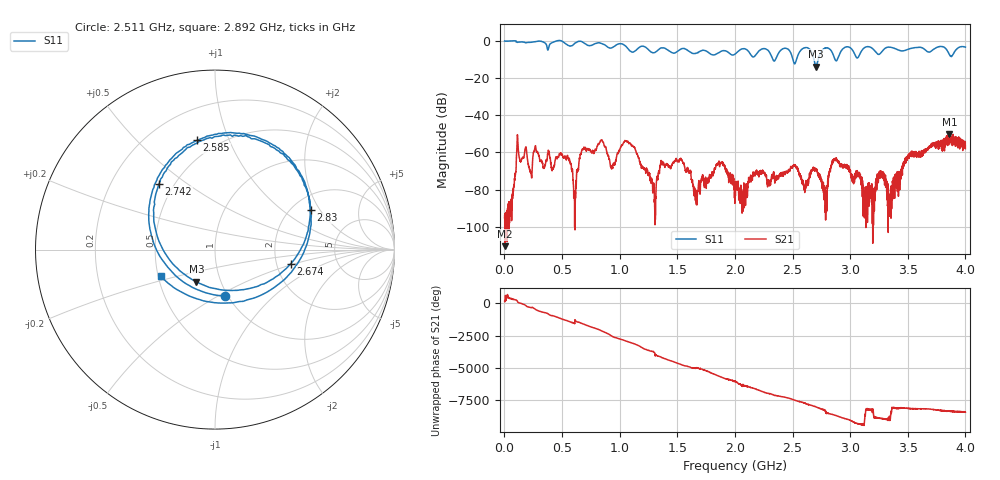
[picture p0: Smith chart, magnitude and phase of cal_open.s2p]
!Created with skrf (http://scikit-rf.org).
# GHz S RI R 50.0
!freq ReS11 ImS11 ReS21 ImS21 ReS12 ImS12 ReS22 ImS22
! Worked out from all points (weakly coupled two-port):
!   4000 points, 1 MHz to 4 GHz, reference 50 ohm
!   highest |S21| = -50.23 dB at 3.862 GHz (marker M1); lowest = -110.5 dB at 6 MHz (marker M2)
!   lowest |S11| = -13.7 dB at 2.704 GHz (marker M3), VSWR 1.52, Z = 38.3 - j14.3 ohm
!   |S11| at or under -10 dB: 2.33 GHz to 2.351 GHz (21.63 MHz wide, 0.924 % of centre); 2.504 GHz to 2.534 GHz (30.17 MHz wide, 1.2 % of centre); 2.686 GHz to 2.721 GHz (35.43 MHz wide, 1.31 % of centre) (the widest 3 of 4)
!   S12 and S22 are empty: the file has one direction only
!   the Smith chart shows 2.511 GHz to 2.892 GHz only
!   S11 on the Smith chart (normalised r, x): 2.511 GHz: 0.97, -0.54; 2.585 GHz: 0.39, +0.77; 2.674 GHz: 2.40, -0.46; 2.742 GHz: 0.41, +0.40; 2.83 GHz: 2.52, +1.66; 2.892 GHz: 0.51, -0.17
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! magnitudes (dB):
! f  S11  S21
! 1 MHz  0.1  -95.3
! 6 MHz  0.0  -110.5
! 122 MHz  -0.5  -60.3
! 543 MHz  -1.9  -62.5
! 612 MHz  -1.1  -101.7
! 668 MHz  -0.2  -59.5
! 938 MHz  -3.4  -68.1
! 1.06 GHz  -3.2  -53.8
! 1.334 GHz  -4.7  -71.3
! 1.875 GHz  -5.7  -65.6
! 2.001 GHz  -7.0  -83.9
! 2.511 GHz  -11.6  -67.2
! 2.585 GHz  -4.2  -76.2
! 2.667 GHz  -6.2  -69.5
! 2.674 GHz  -7.3  -69.7
! 2.704 GHz  -13.7  -69.4
! 2.742 GHz  -6.4  -73.4
! 2.83 GHz  -4.8  -68.7
! 2.892 GHz  -9.4  -65.0
! 3.334 GHz  -3.2  -87.5
! 3.862 GHz  -7.4  -50.2
! 4 GHz  -3.3  -57.9
